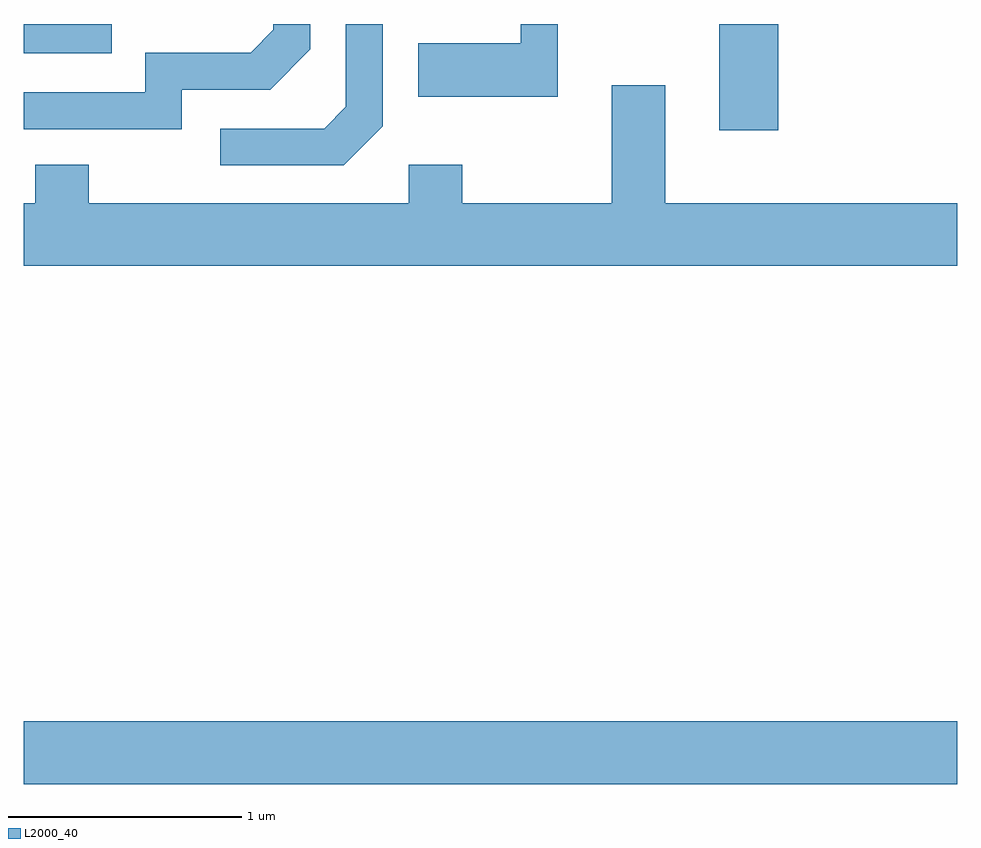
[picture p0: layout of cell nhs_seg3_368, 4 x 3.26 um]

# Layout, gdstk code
import gdstk
lib = gdstk.Library(unit=1e-6, precision=1e-09)
def R(c, l, rs):  # rectangles x0, y0, x1, y1
    for r in rs: c.add(gdstk.rectangle(r[:2], r[2:], *l))
def P(c, l, *ps):  # polygons
    for p in ps: c.add(gdstk.Polygon(p, *l))
L2000_40 = (2000, 40)

nhs_seg3_368 = lib.new_cell('nhs_seg3_368')
R(nhs_seg3_368, L2000_40, [(195.611,1172.636,199.611,1172.904), (198.591,1175.436,198.844,1175.892), (195.611,1175.766,195.988,1175.892)])
P(nhs_seg3_368, L2000_40, [(197.149,1175.454),(197.149,1175.892),(196.991,1175.892),(196.991,1175.537),(196.899,1175.444),(196.453,1175.444),(196.453,1175.286),(196.982,1175.286)],
  [(196.289,1175.611),(196.667,1175.611),(196.839,1175.784),(196.839,1175.892),(196.681,1175.892),(196.681,1175.867),(196.584,1175.769),(196.131,1175.769),(196.131,1175.599),(195.611,1175.599),(195.611,1175.441),(196.289,1175.441)],
  [(197.899,1175.892),(197.741,1175.892),(197.741,1175.809),(197.301,1175.809),(197.301,1175.581),(197.899,1175.581)],
  [(199.611,1175.124),(198.359,1175.124),(198.359,1175.629),(198.131,1175.629),(198.131,1175.124),(197.489,1175.124),(197.489,1175.289),(197.261,1175.289),(197.261,1175.124),(195.889,1175.124),(195.889,1175.289),(195.661,1175.289),(195.661,1175.124),(195.611,1175.124),(195.611,1174.856),(199.611,1174.856)])

lib.write_gds('nhs_seg3_368.gds')
